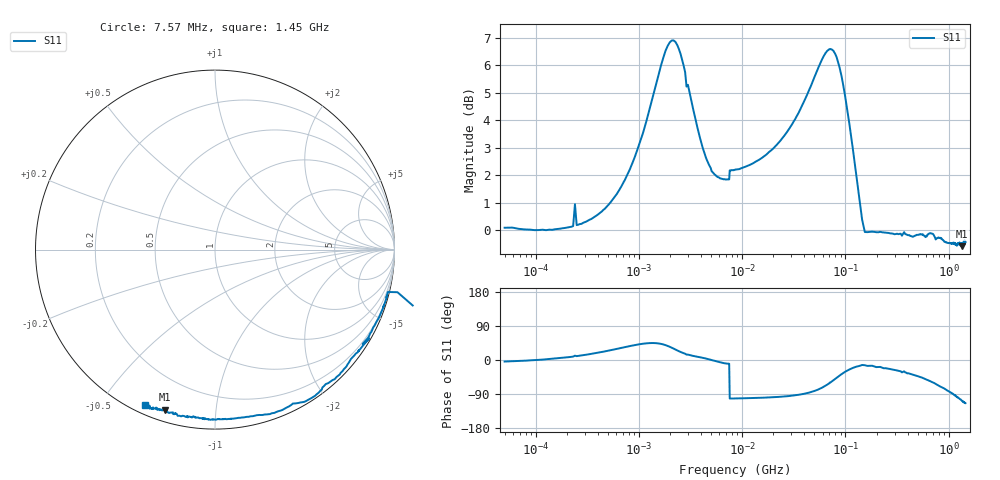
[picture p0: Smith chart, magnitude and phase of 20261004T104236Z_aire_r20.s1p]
! piloto_corto / aire / r20
# HZ S RI R 50
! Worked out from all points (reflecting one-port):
!   501 points, 50 kHz to 1.45 GHz, reference 50 ohm
!   lowest |S11| = -0.6 dB at 1.337 GHz (marker M1), VSWR 29.55, Z = 2.61 - j36.8 ohm
!   phase of S11 starts at -4 deg and turns -110 deg over the sweep
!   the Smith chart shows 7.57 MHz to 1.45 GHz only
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50000  1.007 -0.0716
183000  1.002 0.1018
658000  1.018 0.618
1180000  1.135 1.095
1630000  1.463 1.346
1990000  1.803 1.252
2440000  1.961 0.8372
2890000  1.767 0.4493
3430000  1.601 0.2901
4870000  1.304 0.0303
7300000  1.218 -0.2098
7750000  -0.2588 -1.258
8560000  -0.2556 -1.261
1.81e7  -0.2126 -1.369
3.16e7  -0.0998 -1.574
4.78e7  0.2091 -1.845
6.58e7  0.8583 -1.93
7.57e7  1.236 -1.724
8.83e7  1.495 -1.275
9.82e7  1.506 -0.9372
1e8  1.494 -0.8834
1.18e8  1.311 -0.4988
1.36e8  1.102 -0.3113
1.63e8  0.9547 -0.2659
4.06e8  0.8019 -0.5605
7.03e8  0.4997 -0.8474
1.3375e9  -0.2767 -0.8926
1.45e9  -0.3874 -0.8685
